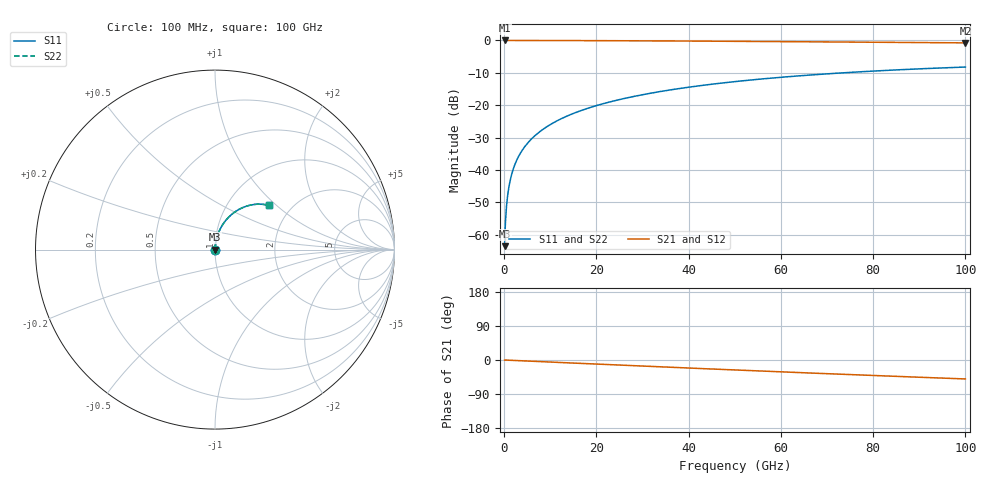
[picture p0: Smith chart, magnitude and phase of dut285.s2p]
! Touchstone file exported from HFSS 2026.1.0
!  File:  C:/ffzhzh/LocalFiles/Ansys_Project_Files/temp_train_TSV_285_1783508886_55944.aedt
!  Generated:  07:09:33 PM Jul  8, 2026
!  Design:  TSV
!  Project:  temp_train_TSV_285_1783508886_55944
! Variables:
!  h_bsmrdl = 2um
!  h_ox = 20um
!  h_rdl = 5um
!  h_sub = 88.13um
!  h_tmrdl = 5um
!  h_tsv = 88.13um
!  h_via = 3um
!  l_bsmrdl = 300um
!  l_sub = 410.68um
!  l_tmrdl = 200um
!  m_sub = 200um
!  pitch = 52.87um
!  r_tsv = 5.34um
!  s_tmrdl = 10um
!  w_bsmrdl = 18um
!  w_sub = 500um
!  w_tmrdl = 12um
!  x_tsv_center1 = 206um
!  x_tsv_center2 = 524um
!  x_tsv_center3 = 736um
!  x_tsv_center4 = 1054um
!  x_tsv_center5 = 1266um
!  x_tsv_center6 = 1584um
# GHz S MA R 50.000000
! Terminal data exported
! Port[1] = TSV1_1_T1
! Port[2] = TSV1_1_T2
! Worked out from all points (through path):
!   1000 points, 100 MHz to 100 GHz, reference 50 ohm
!   highest |S21| = 0.00 dB at 100 MHz (marker M1); lowest = -0.7 dB at 100 GHz (marker M2)
!   group delay of S21, straight-line fit = 1.39 ps
!   lowest |S11| = -63.6 dB at 100 MHz (marker M3), VSWR 1.00, Z = 50 + j0.0541 ohm
!   |S11| at or under -10 dB: start of sweep to 73.5 GHz
!   |S22| runs from -63.6 to -8.2 dB; largest |S21 - S12| = 4e-15
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0.1  0.0006634 54.6  0.9996 -0.1  0.9996 -0.1  0.0006634 54.6
! Gamma 0 0 0 0
! Port Impedance 50 0 50 0
0.4  0.002161 78.6  0.9996 -0.2  0.9996 -0.2  0.002161 78.6
0.7  0.003715 82.7  0.9995 -0.4  0.9995 -0.4  0.003715 82.7
0.8  0.004235 83.4  0.9995 -0.4  0.9995 -0.4  0.004235 83.4
1  0.005275 84.2  0.9995 -0.6  0.9995 -0.6  0.005275 84.2
1.3  0.00683 84.9  0.9995 -0.7  0.9995 -0.7  0.00683 84.9
1.7  0.008894 85.3  0.9994 -0.9  0.9994 -0.9  0.008894 85.3
2.3  0.01196 85.4  0.9992 -1.3  0.9992 -1.3  0.01196 85.4
3  0.0155 85.4  0.9991 -1.6  0.9991 -1.6  0.0155 85.4
3.8  0.01951 85.2  0.9989 -2.1  0.9989 -2.1  0.01951 85.2
4.8  0.02449 84.9  0.9986 -2.6  0.9986 -2.6  0.02449 84.9
6  0.03044 84.5  0.9983 -3.3  0.9983 -3.3  0.03044 84.5
8.8  0.04425 83.3  0.9976 -4.8  0.9976 -4.8  0.04425 83.3
12.4  0.06187 81.7  0.9963 -6.7  0.9963 -6.7  0.06187 81.7
16.8  0.08316 79.5  0.9945 -9.0  0.9945 -9.0  0.08316 79.6
24.2  0.1183 75.9  0.9906 -13.0  0.9906 -13.0  0.1183 75.9
33.4  0.1605 71.2  0.9842 -17.8  0.9842 -17.8  0.1605 71.2
41.2  0.1947 67.3  0.9778 -21.8  0.9778 -21.8  0.1947 67.3
50.1  0.2316 62.9  0.9695 -26.3  0.9695 -26.3  0.2316 62.9
66.7  0.2936 54.8  0.9523 -34.5  0.9523 -34.5  0.2936 54.8
83.4  0.3462 46.9  0.9343 -42.4  0.9343 -42.4  0.3462 47.0
100  0.3881 39.4  0.9174 -50.0  0.9174 -50.0  0.3881 39.5
